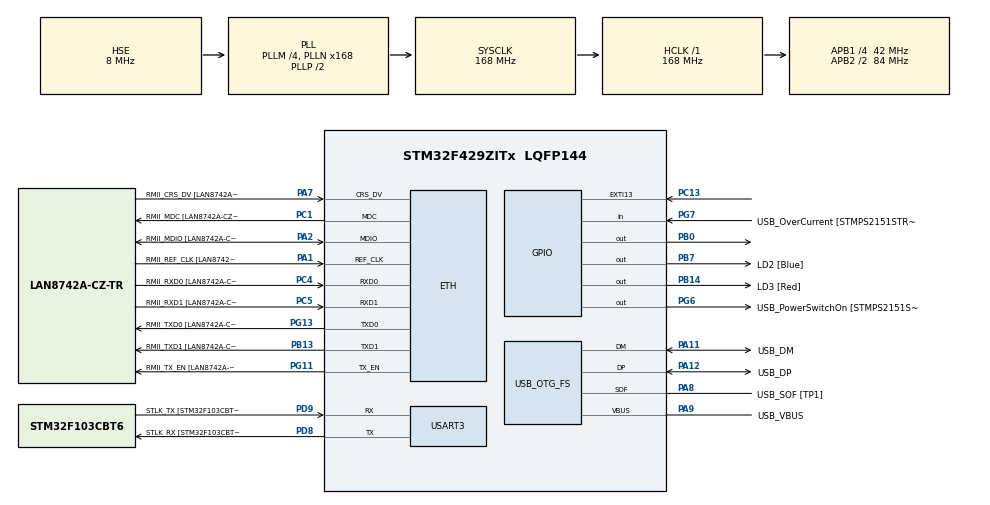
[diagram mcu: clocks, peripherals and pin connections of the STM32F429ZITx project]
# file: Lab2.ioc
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ETH.MediaInterface=HAL_ETH_RMII_MODE
ETH.PHY_Name=LAN8742A_PHY_ADDRESS
ETH.PHY_Value=0
ETH.PhyAddress=0
Mcu.Family=STM32F4
Mcu.Name=STM32F429ZITx
Mcu.Package=LQFP144
NVIC.EXTI15_10_IRQn=true\:0\:0\:false\:false\:true\:true\:true\:true
NVIC.PriorityGroup=NVIC_PRIORITYGROUP_4
PA1.GPIO_Label=RMII_REF_CLK [LAN8742A-CZ-TR_REFCLK0]
PA1.Mode=RMII
PA1.Signal=ETH_REF_CLK
PA10.GPIO_Label=USB_ID
PA10.Signal=USB_OTG_FS_ID
PA11.GPIO_Label=USB_DM
PA11.Mode=Device_Only
PA11.Signal=USB_OTG_FS_DM
PA12.GPIO_Label=USB_DP
PA12.Mode=Device_Only
PA12.Signal=USB_OTG_FS_DP
PA13.GPIO_Label=TMS
PA13.Mode=Serial_Wire
PA13.Signal=SYS_JTMS-SWDIO
PA14.GPIO_Label=TCK
PA14.Mode=Serial_Wire
PA14.Signal=SYS_JTCK-SWCLK
PA2.GPIO_Label=RMII_MDIO [LAN8742A-CZ-TR_MDIO]
PA2.Mode=RMII
PA2.Signal=ETH_MDIO
PA7.GPIO_Label=RMII_CRS_DV [LAN8742A-CZ-TR_CRS_DV]
PA7.Mode=RMII
PA7.Signal=ETH_CRS_DV
PA8.GPIO_Label=USB_SOF [TP1]
PA8.Mode=Activate_SOF_FS
PA8.Signal=USB_OTG_FS_SOF
PA9.GPIO_Label=USB_VBUS
PA9.Mode=Activate_VBUS
PA9.Signal=USB_OTG_FS_VBUS
PB0.Signal=GPIO_Output
PB13.GPIO_Label=RMII_TXD1 [LAN8742A-CZ-TR_TXD1]
PB13.Mode=RMII
PB13.Signal=ETH_TXD1
PB14.GPIO_Label=LD3 [Red]
PB14.Signal=GPIO_Output
PB7.GPIO_Label=LD2 [Blue]
PB7.Signal=GPIO_Output
PC1.GPIO_Label=RMII_MDC [LAN8742A-CZ-TR_MDC]
PC1.Mode=RMII
PC1.Signal=ETH_MDC
PC13.Signal=GPXTI13
PC14/OSC32_IN.Mode=LSE-External-Oscillator
PC14/OSC32_IN.Signal=RCC_OSC32_IN
PC15/OSC32_OUT.Mode=LSE-External-Oscillator
PC15/OSC32_OUT.Signal=RCC_OSC32_OUT
PC4.GPIO_Label=RMII_RXD0 [LAN8742A-CZ-TR_RXD0]
PC4.Mode=RMII
PC4.Signal=ETH_RXD0
PC5.GPIO_Label=RMII_RXD1 [LAN8742A-CZ-TR_RXD1]
PC5.Mode=RMII
PC5.Signal=ETH_RXD1
PD8.GPIO_Label=STLK_RX [STM32F103CBT6_PA3]
PD8.Mode=Asynchronous
PD8.Signal=USART3_TX
PD9.GPIO_Label=STLK_TX [STM32F103CBT6_PA2]
PD9.Mode=Asynchronous
PD9.Signal=USART3_RX
PG11.GPIO_Label=RMII_TX_EN [LAN8742A-CZ-TR_TXEN]
PG11.Mode=RMII
PG11.Signal=ETH_TX_EN
PG13.GPIO_Label=RMII_TXD0 [LAN8742A-CZ-TR_TXD0]
PG13.Mode=RMII
PG13.Signal=ETH_TXD0
PG6.GPIO_Label=USB_PowerSwitchOn [STMPS2151STR_EN]
PG6.Signal=GPIO_Output
PG7.GPIO_Label=USB_OverCurrent [STMPS2151STR_FAULT]
PG7.Signal=GPIO_Input
PH0/OSC_IN.GPIO_Label=MCO [STM32F103CBT6_PA8]
PH0/OSC_IN.Mode=HSE-External-Clock-Source
PH0/OSC_IN.Signal=RCC_OSC_IN
PH1/OSC_OUT.Mode=HSE-External-Clock-Source
PH1/OSC_OUT.Signal=RCC_OSC_OUT
ProjectManager.HeapSize=0x200
ProjectManager.StackSize=0x400
ProjectManager.TargetToolchain=STM32CubeIDE
RCC.48MHZClocksFreq_Value=48000000
RCC.AHBFreq_Value=168000000
RCC.APB1CLKDivider=RCC_HCLK_DIV4
RCC.APB1Freq_Value=42000000
RCC.APB1TimFreq_Value=84000000
RCC.APB2CLKDivider=RCC_HCLK_DIV2
RCC.APB2Freq_Value=84000000
RCC.APB2TimCLKDivider=2
RCC.APB2TimFreq_Value=168000000
RCC.CortexFreq_Value=168000000
RCC.HCLKFreq_Value=168000000
RCC.HSE_VALUE=8000000
RCC.HSI_VALUE=16000000
RCC.PLLM=4
RCC.PLLMUL=RCC_PLL_MUL9
RCC.PLLN=168
RCC.PLLQ=7
RCC.PRESCALERUSB=RCC_USBCLKSOURCE_PLL_DIV1_5
RCC.SYSCLKFreq_VALUE=168000000
RCC.SYSCLKSource=RCC_SYSCLKSOURCE_PLLCLK
RCC.SYSCLKSourceVirtual=RCC_SYSCLKSOURCE_PLLCLK
RCC.USBFreq_Value=48000000
RCC.VCOOutputFreq_Value=336000000
USART3.VirtualMode=VM_ASYNC
USB_OTG_FS.VirtualMode=Device_Only
board=NUCLEO-F429ZI

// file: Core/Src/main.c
/* USER CODE BEGIN Header */
/**
  ******************************************************************************
  * @file           : main.c
  * @brief          : Main program body
  ******************************************************************************
  * @attention
  *
  * Copyright (c) 2022 STMicroelectronics.
  * All rights reserved.
  *
  * This software is licensed under terms that can be found in the LICENSE file
  * in the root directory of this software component.
  * If no LICENSE file comes with this software, it is provided AS-IS.
  *
  ******************************************************************************
  */
/* USER CODE END Header */
#include "main.h"
#include "string.h"

ETH_TxPacketConfig TxConfig;
ETH_DMADescTypeDef  DMARxDscrTab[ETH_RX_DESC_CNT]; /* Ethernet Rx DMA Descriptors */
ETH_DMADescTypeDef  DMATxDscrTab[ETH_TX_DESC_CNT]; /* Ethernet Tx DMA Descriptors */

 ETH_HandleTypeDef heth;

UART_HandleTypeDef huart3;

PCD_HandleTypeDef hpcd_USB_OTG_FS;

/* USER CODE BEGIN PV */
int udelay = 50;
int chooseled = 14;
int numberOfBlue = 1;
/* USER CODE END PV */

void SystemClock_Config(void);
static void MX_GPIO_Init(void);
static void MX_ETH_Init(void);
static void MX_USART3_UART_Init(void);
static void MX_USB_OTG_FS_PCD_Init(void);

int main(void)
{

  /* MCU Configuration--------------------------------------------------------*/

  /* Reset of all peripherals, Initializes the Flash interface and the Systick. */
  HAL_Init();

  /* Configure the system clock */
  SystemClock_Config();

  /* Initialize all configured peripherals */
  MX_GPIO_Init();
  MX_ETH_Init();
  MX_USART3_UART_Init();
  MX_USB_OTG_FS_PCD_Init();

  /* Infinite loop */
  /* USER CODE BEGIN WHILE */
  while (1)
  {
	  if (chooseled == 0){ //G
	  		  HAL_GPIO_WritePin(GPIOB, GPIO_PIN_14,GPIO_PIN_RESET);
	  		  HAL_GPIO_WritePin(GPIOB, GPIO_PIN_7,GPIO_PIN_RESET);
	  		  HAL_GPIO_TogglePin(GPIOB, GPIO_PIN_0);
	  		  HAL_Delay(udelay);

	  	  }else if(chooseled == 14){ //R
	  		  HAL_GPIO_WritePin(GPIOB, GPIO_PIN_7,GPIO_PIN_RESET);
	  		  HAL_GPIO_WritePin(GPIOB, GPIO_PIN_0,GPIO_PIN_RESET);
	  		  HAL_GPIO_TogglePin(GPIOB, GPIO_PIN_14);
	  		  HAL_Delay(udelay);

	  	  }else if(chooseled == 7){ //B
	  		  HAL_GPIO_WritePin(GPIOB, GPIO_PIN_14,GPIO_PIN_RESET);
	  		  HAL_GPIO_WritePin(GPIOB, GPIO_PIN_0,GPIO_PIN_RESET);
	  		  HAL_GPIO_TogglePin(GPIOB, GPIO_PIN_7);
	  		  HAL_Delay(udelay);
	  	  }

    /* USER CODE END WHILE */

  }
}

void SystemClock_Config(void)
{
  RCC_OscInitTypeDef RCC_OscInitStruct = {0};
  RCC_ClkInitTypeDef RCC_ClkInitStruct = {0};

  /** Configure the main internal regulator output voltage
  */
  __HAL_RCC_PWR_CLK_ENABLE();
  __HAL_PWR_VOLTAGESCALING_CONFIG(PWR_REGULATOR_VOLTAGE_SCALE1);

  /** Initializes the RCC Oscillators according to the specified parameters
  * in the RCC_OscInitTypeDef structure.
  */
  RCC_OscInitStruct.OscillatorType = RCC_OSCILLATORTYPE_HSE;
  RCC_OscInitStruct.HSEState = RCC_HSE_BYPASS;
  RCC_OscInitStruct.PLL.PLLState = RCC_PLL_ON;
  RCC_OscInitStruct.PLL.PLLSource = RCC_PLLSOURCE_HSE;
  RCC_OscInitStruct.PLL.PLLM = 4;
  RCC_OscInitStruct.PLL.PLLN = 168;
  RCC_OscInitStruct.PLL.PLLP = RCC_PLLP_DIV2;
  RCC_OscInitStruct.PLL.PLLQ = 7;
  if (HAL_RCC_OscConfig(&RCC_OscInitStruct) != HAL_OK)
  {
    Error_Handler();
  }

  /** Initializes the CPU, AHB and APB buses clocks
  */
  RCC_ClkInitStruct.ClockType = RCC_CLOCKTYPE_HCLK|RCC_CLOCKTYPE_SYSCLK
                              |RCC_CLOCKTYPE_PCLK1|RCC_CLOCKTYPE_PCLK2;
  RCC_ClkInitStruct.SYSCLKSource = RCC_SYSCLKSOURCE_PLLCLK;
  RCC_ClkInitStruct.AHBCLKDivider = RCC_SYSCLK_DIV1;
  RCC_ClkInitStruct.APB1CLKDivider = RCC_HCLK_DIV4;
  RCC_ClkInitStruct.APB2CLKDivider = RCC_HCLK_DIV2;

  if (HAL_RCC_ClockConfig(&RCC_ClkInitStruct, FLASH_LATENCY_5) != HAL_OK)
  {
    Error_Handler();
  }
}

static void MX_ETH_Init(void)
{

   static uint8_t MACAddr[6];

  heth.Instance = ETH;
  MACAddr[0] = 0x00;
  MACAddr[1] = 0x80;
  MACAddr[2] = 0xE1;
  MACAddr[3] = 0x00;
  MACAddr[4] = 0x00;
  MACAddr[5] = 0x00;
  heth.Init.MACAddr = &MACAddr[0];
  heth.Init.MediaInterface = HAL_ETH_RMII_MODE;
  heth.Init.TxDesc = DMATxDscrTab;
  heth.Init.RxDesc = DMARxDscrTab;
  heth.Init.RxBuffLen = 1524;

  if (HAL_ETH_Init(&heth) != HAL_OK)
  {
    Error_Handler();
  }

  memset(&TxConfig, 0 , sizeof(ETH_TxPacketConfig));
  TxConfig.Attributes = ETH_TX_PACKETS_FEATURES_CSUM | ETH_TX_PACKETS_FEATURES_CRCPAD;
  TxConfig.ChecksumCtrl = ETH_CHECKSUM_IPHDR_PAYLOAD_INSERT_PHDR_CALC;
  TxConfig.CRCPadCtrl = ETH_CRC_PAD_INSERT;

}

static void MX_USART3_UART_Init(void)
{

  huart3.Instance = USART3;
  huart3.Init.BaudRate = 115200;
  huart3.Init.WordLength = UART_WORDLENGTH_8B;
  huart3.Init.StopBits = UART_STOPBITS_1;
  huart3.Init.Parity = UART_PARITY_NONE;
  huart3.Init.Mode = UART_MODE_TX_RX;
  huart3.Init.HwFlowCtl = UART_HWCONTROL_NONE;
  huart3.Init.OverSampling = UART_OVERSAMPLING_16;
  if (HAL_UART_Init(&huart3) != HAL_OK)
  {
    Error_Handler();
  }

}

static void MX_USB_OTG_FS_PCD_Init(void)
{

  hpcd_USB_OTG_FS.Instance = USB_OTG_FS;
  hpcd_USB_OTG_FS.Init.dev_endpoints = 4;
  hpcd_USB_OTG_FS.Init.speed = PCD_SPEED_FULL;
  hpcd_USB_OTG_FS.Init.dma_enable = DISABLE;
  hpcd_USB_OTG_FS.Init.phy_itface = PCD_PHY_EMBEDDED;
  hpcd_USB_OTG_FS.Init.Sof_enable = ENABLE;
  hpcd_USB_OTG_FS.Init.low_power_enable = DISABLE;
  hpcd_USB_OTG_FS.Init.lpm_enable = DISABLE;
  hpcd_USB_OTG_FS.Init.vbus_sensing_enable = ENABLE;
  hpcd_USB_OTG_FS.Init.use_dedicated_ep1 = DISABLE;
  if (HAL_PCD_Init(&hpcd_USB_OTG_FS) != HAL_OK)
  {
    Error_Handler();
  }

}

static void MX_GPIO_Init(void)
{
  GPIO_InitTypeDef GPIO_InitStruct = {0};

  /* GPIO Ports Clock Enable */
  __HAL_RCC_GPIOC_CLK_ENABLE();
  __HAL_RCC_GPIOH_CLK_ENABLE();
  __HAL_RCC_GPIOA_CLK_ENABLE();
  __HAL_RCC_GPIOB_CLK_ENABLE();
  __HAL_RCC_GPIOD_CLK_ENABLE();
  __HAL_RCC_GPIOG_CLK_ENABLE();

  /*Configure GPIO pin Output Level */
  HAL_GPIO_WritePin(GPIOB, GPIO_PIN_0|LD3_Pin|LD2_Pin, GPIO_PIN_RESET);

  /*Configure GPIO pin Output Level */
  HAL_GPIO_WritePin(USB_PowerSwitchOn_GPIO_Port, USB_PowerSwitchOn_Pin, GPIO_PIN_RESET);

  /*Configure GPIO pin : PC13 */
  GPIO_InitStruct.Pin = GPIO_PIN_13;
  GPIO_InitStruct.Mode = GPIO_MODE_IT_RISING;
  GPIO_InitStruct.Pull = GPIO_NOPULL;
  HAL_GPIO_Init(GPIOC, &GPIO_InitStruct);

  /*Configure GPIO pins : PB0 LD3_Pin LD2_Pin */
  GPIO_InitStruct.Pin = GPIO_PIN_0|LD3_Pin|LD2_Pin;
  GPIO_InitStruct.Mode = GPIO_MODE_OUTPUT_PP;
  GPIO_InitStruct.Pull = GPIO_NOPULL;
  GPIO_InitStruct.Speed = GPIO_SPEED_FREQ_LOW;
  HAL_GPIO_Init(GPIOB, &GPIO_InitStruct);

  /*Configure GPIO pin : USB_PowerSwitchOn_Pin */
  GPIO_InitStruct.Pin = USB_PowerSwitchOn_Pin;
  GPIO_InitStruct.Mode = GPIO_MODE_OUTPUT_PP;
  GPIO_InitStruct.Pull = GPIO_NOPULL;
  GPIO_InitStruct.Speed = GPIO_SPEED_FREQ_LOW;
  HAL_GPIO_Init(USB_PowerSwitchOn_GPIO_Port, &GPIO_InitStruct);

  /*Configure GPIO pin : USB_OverCurrent_Pin */
  GPIO_InitStruct.Pin = USB_OverCurrent_Pin;
  GPIO_InitStruct.Mode = GPIO_MODE_INPUT;
  GPIO_InitStruct.Pull = GPIO_NOPULL;
  HAL_GPIO_Init(USB_OverCurrent_GPIO_Port, &GPIO_InitStruct);

  /* EXTI interrupt init*/
  HAL_NVIC_SetPriority(EXTI15_10_IRQn, 0, 0);
  HAL_NVIC_EnableIRQ(EXTI15_10_IRQn);

}

void Error_Handler(void)
{
  __disable_irq();
  while (1)
  {
  }
}
